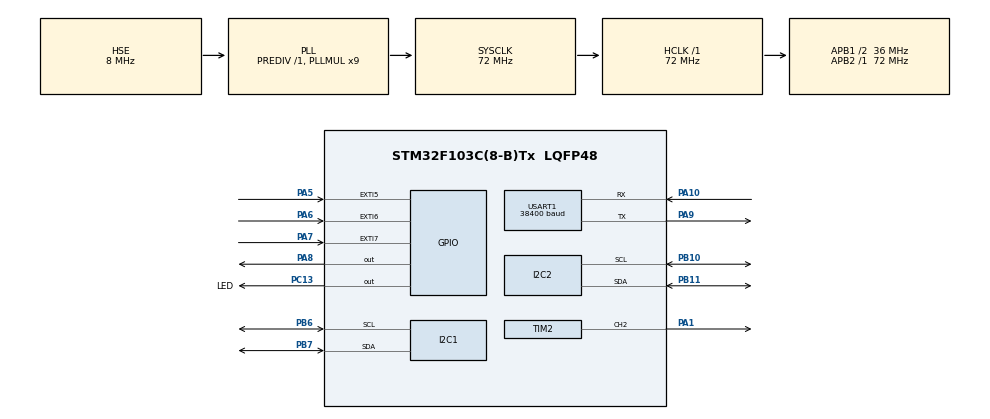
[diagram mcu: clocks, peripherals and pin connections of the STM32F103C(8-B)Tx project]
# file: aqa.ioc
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Dma.I2C1_TX.0.Direction=DMA_MEMORY_TO_PERIPH
Dma.I2C1_TX.0.Instance=DMA1_Channel6
Dma.I2C1_TX.0.MemDataAlignment=DMA_MDATAALIGN_BYTE
Dma.I2C1_TX.0.MemInc=DMA_MINC_ENABLE
Dma.I2C1_TX.0.Mode=DMA_CIRCULAR
Dma.I2C1_TX.0.PeriphDataAlignment=DMA_PDATAALIGN_BYTE
Dma.I2C1_TX.0.PeriphInc=DMA_PINC_DISABLE
Dma.I2C1_TX.0.Priority=DMA_PRIORITY_LOW
Dma.Request0=I2C1_TX
Dma.Request1=TIM2_CH2/CH4
Dma.TIM2_CH2/CH4.1.Direction=DMA_MEMORY_TO_PERIPH
Dma.TIM2_CH2/CH4.1.Instance=DMA1_Channel7
Dma.TIM2_CH2/CH4.1.MemDataAlignment=DMA_MDATAALIGN_BYTE
Dma.TIM2_CH2/CH4.1.MemInc=DMA_MINC_ENABLE
Dma.TIM2_CH2/CH4.1.Mode=DMA_CIRCULAR
Dma.TIM2_CH2/CH4.1.PeriphDataAlignment=DMA_PDATAALIGN_HALFWORD
Dma.TIM2_CH2/CH4.1.PeriphInc=DMA_PINC_DISABLE
Dma.TIM2_CH2/CH4.1.Priority=DMA_PRIORITY_VERY_HIGH
Mcu.Family=STM32F1
Mcu.Name=STM32F103C(8-B)Tx
Mcu.Package=LQFP48
NVIC.DMA1_Channel6_IRQn=true\:0\:0\:false\:false\:true\:false
NVIC.DMA1_Channel7_IRQn=true\:0\:0\:false\:false\:true\:false
NVIC.EXTI9_5_IRQn=true\:0\:0\:false\:false\:true\:true
NVIC.PriorityGroup=NVIC_PRIORITYGROUP_4
NVIC.TIM4_IRQn=true\:0\:0\:false\:false\:true\:true
NVIC.USART1_IRQn=true\:0\:0\:false\:false\:true\:true
PA1.GPIO_Speed=GPIO_SPEED_FREQ_HIGH
PA1.Signal=S_TIM2_CH2
PA10.Mode=Asynchronous
PA10.Signal=USART1_RX
PA13.Mode=Trace_Asynchronous_SW
PA13.Signal=SYS_JTMS-SWDIO
PA14.Mode=Trace_Asynchronous_SW
PA14.Signal=SYS_JTCK-SWCLK
PA5.GPIO_PuPd=GPIO_PULLDOWN
PA5.Signal=GPXTI5
PA6.GPIO_PuPd=GPIO_PULLDOWN
PA6.Signal=GPXTI6
PA7.GPIO_PuPd=GPIO_PULLDOWN
PA7.Signal=GPXTI7
PA8.Signal=GPIO_Output
PA9.Mode=Asynchronous
PA9.Signal=USART1_TX
PB10.Mode=I2C
PB10.Signal=I2C2_SCL
PB11.Mode=I2C
PB11.Signal=I2C2_SDA
PB3.Mode=Trace_Asynchronous_SW
PB3.Signal=SYS_JTDO-TRACESWO
PB6.Mode=I2C
PB6.Signal=I2C1_SCL
PB7.Mode=I2C
PB7.Signal=I2C1_SDA
PC13-TAMPER-RTC.GPIO_Label=LED
PC13-TAMPER-RTC.Signal=GPIO_Output
PC14-OSC32_IN.Mode=LSE-External-Oscillator
PC14-OSC32_IN.Signal=RCC_OSC32_IN
PC15-OSC32_OUT.Mode=LSE-External-Oscillator
PC15-OSC32_OUT.Signal=RCC_OSC32_OUT
PD0-OSC_IN.Mode=HSE-External-Oscillator
PD0-OSC_IN.Signal=RCC_OSC_IN
PD1-OSC_OUT.Mode=HSE-External-Oscillator
PD1-OSC_OUT.Signal=RCC_OSC_OUT
ProjectManager.HeapSize=0x3900
ProjectManager.StackSize=0x900
ProjectManager.TargetToolchain=MDK-ARM V5
RCC.AHBFreq_Value=72000000
RCC.APB1CLKDivider=RCC_HCLK_DIV2
RCC.APB1Freq_Value=36000000
RCC.APB1TimFreq_Value=72000000
RCC.APB2Freq_Value=72000000
RCC.APB2TimFreq_Value=72000000
RCC.HCLKFreq_Value=72000000
RCC.PLLMUL=RCC_PLL_MUL9
RCC.PLLSourceVirtual=RCC_PLLSOURCE_HSE
RCC.RTCClockSelection=RCC_RTCCLKSOURCE_LSE
RCC.SYSCLKFreq_VALUE=72000000
RCC.SYSCLKSource=RCC_SYSCLKSOURCE_PLLCLK
RCC.USBFreq_Value=48000000
RCC.USBPrescaler=RCC_USBCLKSOURCE_PLL_DIV1_5
SH.S_TIM2_CH2.0=TIM2_CH2,PWM Generation2 CH2
TIM2.Channel-PWM\ Generation2\ CH2=TIM_CHANNEL_2
TIM2.Period=23
TIM2.Prescaler=3
TIM4.Period=400
TIM4.Prescaler=36000
TIM4.TIM_MasterOutputTrigger=TIM_TRGO_UPDATE
USART1.BaudRate=38400
USART1.VirtualMode=VM_ASYNC
VP_RTC_No_RTC_Output.Mode=RTC_OUT_NO
VP_RTC_VS_RTC_Activate.Mode=RTC_Enabled
VP_RTC_VS_RTC_Calendar.Mode=RTC_Calendar
VP_TIM4_VS_ClockSourceITR.Mode=TriggerSource_ITR0
board=custom

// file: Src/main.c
/**
  ******************************************************************************
  * @file           : main.c
  * @brief          : Main program body
  ******************************************************************************
  ** This notice applies to any and all portions of this file
  * that are not between comment pairs USER CODE BEGIN and
  * USER CODE END. Other portions of this file, whether
  * inserted by the user or by software development tools
  * are owned by their respective copyright owners.
  *
  * COPYRIGHT(c) 2018 STMicroelectronics
  *
  * Redistribution and use in source and binary forms, with or without modification,
  * are permitted provided that the following conditions are met:
  *   1. Redistributions of source code must retain the above copyright notice,
  *      this list of conditions and the following disclaimer.
  *   2. Redistributions in binary form must reproduce the above copyright notice,
  *      this list of conditions and the following disclaimer in the documentation
  *      and/or other materials provided with the distribution.
  *   3. Neither the name of STMicroelectronics nor the names of its contributors
  *      may be used to endorse or promote products derived from this software
  *      without specific prior written permission.
  *
  * THIS SOFTWARE IS PROVIDED BY THE COPYRIGHT HOLDERS AND CONTRIBUTORS "AS IS"
  * AND ANY EXPRESS OR IMPLIED WARRANTIES, INCLUDING, BUT NOT LIMITED TO, THE
  * IMPLIED WARRANTIES OF MERCHANTABILITY AND FITNESS FOR A PARTICULAR PURPOSE ARE
  * DISCLAIMED. IN NO EVENT SHALL THE COPYRIGHT HOLDER OR CONTRIBUTORS BE LIABLE
  * FOR ANY DIRECT, INDIRECT, INCIDENTAL, SPECIAL, EXEMPLARY, OR CONSEQUENTIAL
  * DAMAGES (INCLUDING, BUT NOT LIMITED TO, PROCUREMENT OF SUBSTITUTE GOODS OR
  * SERVICES; LOSS OF USE, DATA, OR PROFITS; OR BUSINESS INTERRUPTION) HOWEVER
  * CAUSED AND ON ANY THEORY OF LIABILITY, WHETHER IN CONTRACT, STRICT LIABILITY,
  * OR TORT (INCLUDING NEGLIGENCE OR OTHERWISE) ARISING IN ANY WAY OUT OF THE USE
  * OF THIS SOFTWARE, EVEN IF ADVISED OF THE POSSIBILITY OF SUCH DAMAGE.
  *
  ******************************************************************************
  */
#include "main.h"
#include "stm32f1xx_hal.h"
#include "dma.h"
#include "i2c.h"
#include "rtc.h"
#include "tim.h"
#include "usart.h"
#include "gpio.h"

/* USER CODE BEGIN Includes */
#include "config.h"
#include "ledcontrol.h"
#include "oled_lcd.h"
#include "myMenu.h"

/* USER CODE END Includes */

/* USER CODE BEGIN PV */
/* Private variables ---------------------------------------------------------*/

volatile uint8_t effectIndex = 0; //индекс эффекта

/* USER CODE END PV */

void SystemClock_Config(void);

/* USER CODE BEGIN PFP */
/* Private function prototypes -----------------------------------------------*/

/* USER CODE END PFP */

int main(void)
{

  /* MCU Configuration----------------------------------------------------------*/

  /* Reset of all peripherals, Initializes the Flash interface and the Systick. */
  HAL_Init();

  /* Configure the system clock */
  SystemClock_Config();

  /* Initialize all configured peripherals */
  MX_GPIO_Init();
  MX_DMA_Init();
  MX_I2C1_Init();
  MX_I2C2_Init();
  MX_RTC_Init();
  MX_TIM4_Init();
  MX_TIM2_Init();
  MX_USART1_UART_Init();
  /* USER CODE BEGIN 2 */

  setting* set = loadSettings();  //загрузка настроек из флэш памяти
  ledsArray* ledCntrl = init(set->ledCount); //инициализация ленты сохраненным колвом светодиодов (ограничим до 1000 шт)

  HAL_Delay(100);

  OLED_init();
  OLED_blank();
  OLED_refresh();

  HAL_Delay(100);

  //timers start
  HAL_TIM_PWM_Start_DMA(&htim2, TIM_CHANNEL_2, (uint32_t *)ledCntrl->BufArray, ledCntrl->BufSize);
  HAL_TIM_Base_Start(&htim4);
  HAL_TIM_Base_Start_IT(&htim4);

  /* USER CODE END 2 */
  uint32_t delayTime = 0;
  /* Infinite loop */
  while (1)
  {
    getEffect(effectIndex)(&delayTime);

    HAL_Delay(delayTime);
  }
}

void SystemClock_Config(void)
{

  RCC_OscInitTypeDef RCC_OscInitStruct;
  RCC_ClkInitTypeDef RCC_ClkInitStruct;
  RCC_PeriphCLKInitTypeDef PeriphClkInit;

    /**Initializes the CPU, AHB and APB busses clocks
    */
  RCC_OscInitStruct.OscillatorType = RCC_OSCILLATORTYPE_HSE|RCC_OSCILLATORTYPE_LSE;
  RCC_OscInitStruct.HSEState = RCC_HSE_ON;
  RCC_OscInitStruct.HSEPredivValue = RCC_HSE_PREDIV_DIV1;
  RCC_OscInitStruct.LSEState = RCC_LSE_ON;
  RCC_OscInitStruct.HSIState = RCC_HSI_ON;
  RCC_OscInitStruct.PLL.PLLState = RCC_PLL_ON;
  RCC_OscInitStruct.PLL.PLLSource = RCC_PLLSOURCE_HSE;
  RCC_OscInitStruct.PLL.PLLMUL = RCC_PLL_MUL9;
  if (HAL_RCC_OscConfig(&RCC_OscInitStruct) != HAL_OK)
  {
    _Error_Handler(__FILE__, __LINE__);
  }

    /**Initializes the CPU, AHB and APB busses clocks
    */
  RCC_ClkInitStruct.ClockType = RCC_CLOCKTYPE_HCLK|RCC_CLOCKTYPE_SYSCLK
                              |RCC_CLOCKTYPE_PCLK1|RCC_CLOCKTYPE_PCLK2;
  RCC_ClkInitStruct.SYSCLKSource = RCC_SYSCLKSOURCE_PLLCLK;
  RCC_ClkInitStruct.AHBCLKDivider = RCC_SYSCLK_DIV1;
  RCC_ClkInitStruct.APB1CLKDivider = RCC_HCLK_DIV2;
  RCC_ClkInitStruct.APB2CLKDivider = RCC_HCLK_DIV1;

  if (HAL_RCC_ClockConfig(&RCC_ClkInitStruct, FLASH_LATENCY_2) != HAL_OK)
  {
    _Error_Handler(__FILE__, __LINE__);
  }

  PeriphClkInit.PeriphClockSelection = RCC_PERIPHCLK_RTC;
  PeriphClkInit.RTCClockSelection = RCC_RTCCLKSOURCE_LSE;
  if (HAL_RCCEx_PeriphCLKConfig(&PeriphClkInit) != HAL_OK)
  {
    _Error_Handler(__FILE__, __LINE__);
  }

    /**Configure the Systick interrupt time
    */
  HAL_SYSTICK_Config(HAL_RCC_GetHCLKFreq()/1000);

    /**Configure the Systick
    */
  HAL_SYSTICK_CLKSourceConfig(SYSTICK_CLKSOURCE_HCLK);

  /* SysTick_IRQn interrupt configuration */
  HAL_NVIC_SetPriority(SysTick_IRQn, 0, 0);
}

void _Error_Handler(char *file, int line)
{
  while(1)
  {
  }
}

/************************ (C) COPYRIGHT STMicroelectronics *****END OF FILE****/
